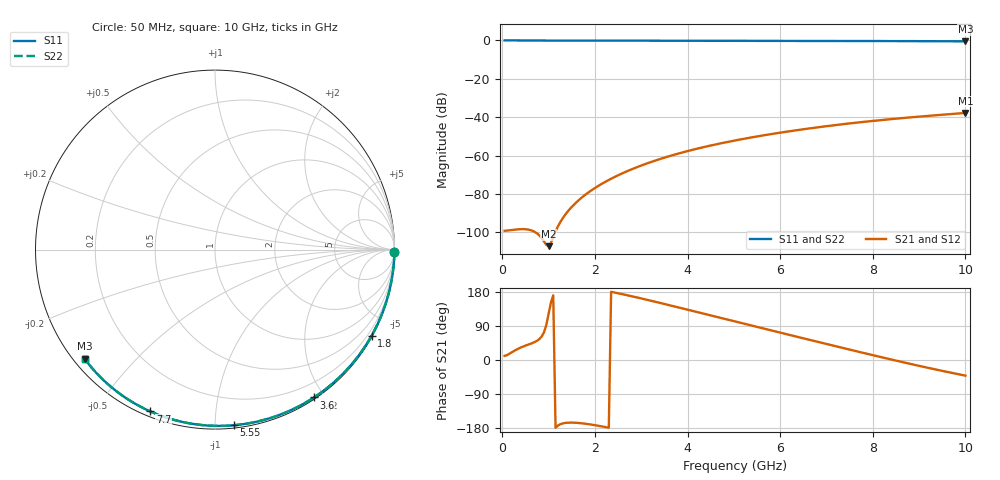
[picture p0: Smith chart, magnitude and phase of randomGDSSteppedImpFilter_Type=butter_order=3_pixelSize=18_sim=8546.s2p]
! freq	dB(S11)	phase(S11)	dB(S12)	phase(S12)
!  dB(S21)	phase(S21)	dB(S22)	phase(S22)
!S-par simulation data
#  GHz  S  DB  R 50
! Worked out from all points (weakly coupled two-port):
!   200 points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, 50 MHz to 10 GHz, reference 50 ohm
!   highest |S21| = -37.79 dB at 10 GHz (marker M1); lowest = -107.3 dB at 1 GHz (marker M2)
!   lowest |S11| = -0.5 dB at 10 GHz (marker M3), VSWR 37.15, Z = 1.52 - j18.2 ohm
!   |S11| at or under -10 dB: nowhere
!   |S22| runs from -0.5 to 0.0 dB; largest |S21 - S12| = 0
!   S11 on the Smith chart (normalised r, x): 50 MHz: open; 1.8 GHz: 0.03, -3.89; 3.6 GHz: 0.02, -1.87; 5.55 GHz: 0.02, -1.11; 7.7 GHz: 0.02, -0.68; 10 GHz: 0.03, -0.36
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0.05  -0.00 -0.8  -99.24 10.9  -99.24 10.9  -0.00 -0.8
0.5  -0.01 -8.1  -98.42 37.9  -98.42 37.9  -0.01 -8.1
1  -0.02 -16.1  -107.26 121.2  -107.26 121.2  -0.02 -16.1
1.75  -0.04 -28.0  -81.26 -167.5  -81.26 -167.5  -0.04 -28.0
1.8  -0.04 -28.8  -80.31 -168.3  -80.31 -168.3  -0.04 -28.8
1.85  -0.04 -29.6  -79.42 -169.1  -79.42 -169.1  -0.04 -29.6
2.15  -0.04 -34.3  -74.73 -175.2  -74.73 -175.2  -0.04 -34.3
2.35  -0.05 -37.4  -72.08 180.0  -72.08 180.0  -0.05 -37.3
2.55  -0.05 -40.4  -69.73 174.9  -69.73 174.9  -0.05 -40.4
2.95  -0.06 -46.5  -65.67 163.9  -65.67 163.9  -0.06 -46.5
3.4  -0.07 -53.3  -61.86 150.8  -61.86 150.8  -0.07 -53.3
3.6  -0.08 -56.2  -60.37 144.9  -60.37 144.9  -0.08 -56.2
3.9  -0.08 -60.6  -58.32 135.8  -58.32 135.8  -0.08 -60.6
4.3  -0.09 -66.4  -55.89 123.7  -55.89 123.7  -0.09 -66.4
5.05  -0.12 -76.9  -52.03 100.9  -52.03 100.9  -0.12 -76.9
5.55  -0.14 -83.8  -49.85 85.8  -49.85 85.8  -0.14 -83.8
6.1  -0.16 -91.2  -47.71 69.2  -47.71 69.2  -0.16 -91.2
6.7  -0.19 -99.0  -45.64 51.2  -45.64 51.2  -0.19 -99.0
7.7  -0.26 -111.8  -42.72 21.5  -42.72 21.5  -0.26 -111.8
8.35  -0.31 -119.9  -41.12 2.7  -41.12 2.7  -0.31 -119.9
9.2  -0.38 -130.3  -39.32 -20.8  -39.32 -20.8  -0.38 -130.3
10  -0.47 -140.1  -37.79 -41.3  -37.79 -41.3  -0.47 -140.0
